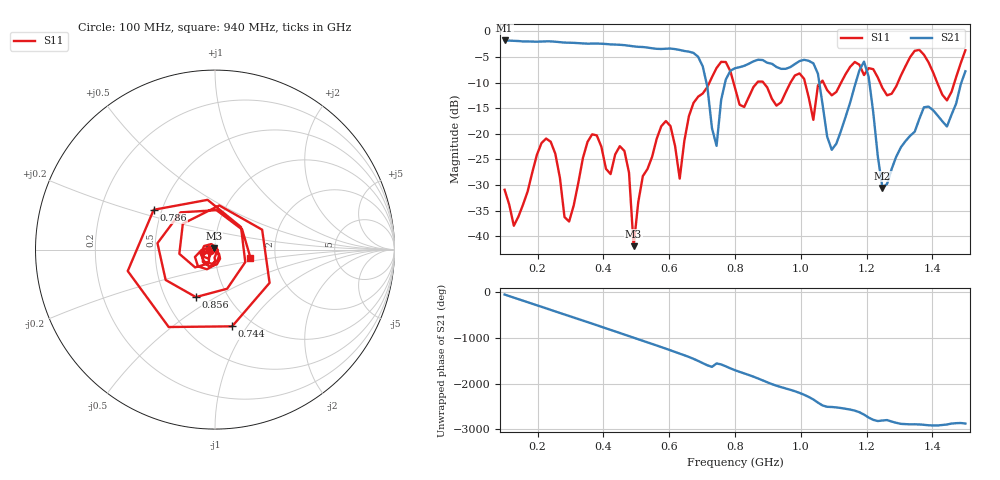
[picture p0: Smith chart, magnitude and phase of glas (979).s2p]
! NanoVNA-App
! Date: 2025-09-25 16:03:05
! Start: 100MHz Stop: 1,5GHz Points: 101
! S-Parameter data: F S11 S21 S12 S22
# Hz S RI R 50
!  Frequency  S11_Real  S11_Imag  S21_Real  S21_Imag  S12_Real  S12_Imag  S22_Real  S22_Imag
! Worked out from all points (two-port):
!   101 points, 100 MHz to 1.5 GHz, reference 50 ohm
!   highest |S21| = -1.80 dB at 100 MHz (marker M1); lowest = -30.6 dB at 1.248 GHz (marker M2)
!   |S21| within 3 dB of the highest: start of sweep to 684.5 MHz
!   lowest |S11| = -41.9 dB at 492 MHz (marker M3), VSWR 1.02, Z = 49.5 + j0.611 ohm
!   |S11| at or under -10 dB: start of sweep to 722.5 MHz; 795.5 MHz to 867.7 MHz (72.18 MHz wide, 8.68 % of centre); 886.1 MHz to 968.8 MHz (82.67 MHz wide, 8.91 % of centre)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
!   S12 and S22 are empty: the file has one direction only
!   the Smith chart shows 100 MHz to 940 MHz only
!   S11 on the Smith chart (normalised r, x): 100 MHz: 0.94, -0.01; 744 MHz: 0.81, -0.85; 786 MHz: 0.45, +0.24; 856 MHz: 0.71, -0.41; 940 MHz: 1.48, -0.14
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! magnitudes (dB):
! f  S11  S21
! 100 MHz  -30.9  -1.8
! 128 MHz  -37.9  -1.9
! 226 MHz  -20.9  -2.0
! 296 MHz  -37.1  -2.2
! 338 MHz  -24.7  -2.4
! 464 MHz  -23.3  -2.7
! 492 MHz  -41.9  -3.0
! 576 MHz  -18.5  -3.5
! 632 MHz  -28.7  -3.7
! 702 MHz  -12.1  -6.9
! 744 MHz  -7.2  -22.4
! 786 MHz  -7.8  -7.7
! 800 MHz  -11.1  -7.2
! 856 MHz  -10.9  -5.9
! 940 MHz  -13.9  -7.3
! 1.038 GHz  -17.3  -6.2
! 1.094 GHz  -12.5  -23.1
! 1.192 GHz  -8.5  -5.9
! 1.248 GHz  -11.1  -30.6
! 1.276 GHz  -12.2  -26.9
! 1.444 GHz  -13.5  -18.6
! 1.5 GHz  -3.7  -7.8
